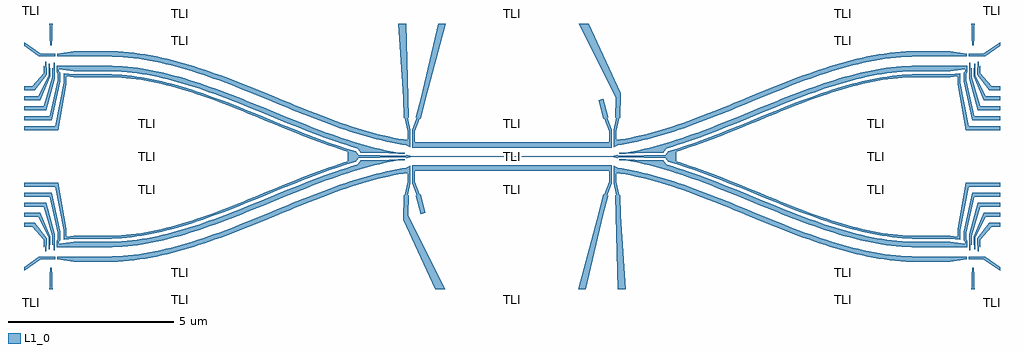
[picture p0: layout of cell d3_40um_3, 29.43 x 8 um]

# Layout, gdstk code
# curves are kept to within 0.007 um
import gdstk
lib = gdstk.Library(unit=1e-6, precision=1e-09)
def P(c, l, *ps):  # polygons
    for p in ps: c.add(gdstk.Polygon(p, *l))
L1_0 = (1, 0)

d3_40um_3 = lib.new_cell('d3_40um_3')
P(d3_40um_3, L1_0, [(-13.956,-4),(-13.955,-3.98),(-13.945,-3.98),(-13.945,-3.486),(-13.925,-3.486),(-13.925,-3.356),(-13.885,-3.356),(-13.885,-3.486),(-13.865,-3.486),(-13.865,-3.98),(-13.855,-3.98),(-13.854,-4)],
  [(13.853,-4),(13.855,-3.98),(13.865,-3.98),(13.865,-3.486),(13.885,-3.486),(13.885,-3.356),(13.925,-3.356),(13.925,-3.486),(13.945,-3.486),(13.945,-3.98),(13.955,-3.98),(13.956,-4)],
  [(-14.715,-3.447),(-14.715,-3.335),(-14.265,-3.016),(-13.775,-3.016),(-13.775,-3.096),(-14.215,-3.096)],
  [(14.715,-3.447),(14.215,-3.096),(13.775,-3.096),(13.775,-3.016),(14.265,-3.016),(14.715,-3.335)],
  [(-14.075,-2.856),(-14.075,-2.706),(-14.115,-2.736),(-14.115,-2.509),(-14.462,-2.116),(-14.715,-2.116),(-14.715,-1.996),(-14.393,-1.996),(-14.035,-2.471),(-14.035,-2.676),(-14.045,-2.684),(-14.045,-2.856)],
  [(14.045,-2.856),(14.045,-2.683),(14.035,-2.676),(14.035,-2.471),(14.393,-1.996),(14.715,-1.996),(14.715,-2.116),(14.462,-2.116),(14.115,-2.509),(14.115,-2.736),(14.075,-2.706),(14.075,-2.856)],
  [(-13.965,-2.796),(-13.965,-2.656),(-13.975,-2.656),(-13.975,-2.445),(-14.289,-1.816),(-14.715,-1.816),(-14.715,-1.696),(-14.219,-1.696),(-13.925,-2.416),(-13.925,-2.656),(-13.935,-2.656),(-13.935,-2.796)],
  [(13.935,-2.796),(13.935,-2.656),(13.925,-2.656),(13.925,-2.416),(14.219,-1.696),(14.715,-1.696),(14.715,-1.816),(14.289,-1.816),(13.975,-2.445),(13.975,-2.656),(13.965,-2.656),(13.965,-2.796)],
  [(-13.825,-2.826),(-13.825,-2.682),(-13.865,-2.666),(-13.865,-2.386),(-14.115,-1.516),(-14.715,-1.516),(-14.715,-1.396),(-14.046,-1.396),(-13.785,-2.346),(-13.785,-2.698),(-13.795,-2.694),(-13.795,-2.826)],
  [(13.795,-2.826),(13.795,-2.694),(13.785,-2.698),(13.785,-2.346),(14.046,-1.396),(14.715,-1.396),(14.715,-1.516),(14.115,-1.516),(13.865,-2.386),(13.865,-2.666),(13.825,-2.682),(13.825,-2.826)],
  [(-2.316,-4),(-3.28,-1.9),(-3.26,-1.168),(-3.228,-1.169),(-3.145,-0.767),(-3.145,-0.507),(-3.28,-0.515),(-3.894,-0.639),(-4.513,-0.806),(-4.98,-0.955),(-5.919,-1.298),(-7.819,-2.071),(-8.78,-2.444),(-9.587,-2.719),(-10.4,-2.944),(-10.728,-3.017),(-11.221,-3.102),(-11.717,-3.157),(-12.049,-3.174),(-13.215,-3.176),(-13.715,-3.096),(-13.715,-3.016),(-12.215,-3.016),(-11.728,-2.997),(-11.082,-2.919),(-10.759,-2.86),(-10.276,-2.749),(-9.474,-2.515),(-8.675,-2.234),(-7.72,-1.858),(-6.135,-1.211),(-5.188,-0.857),(-4.716,-0.701),(-4.245,-0.563),(-3.775,-0.448),(-3.185,-0.34),(-3.065,-0.28),(-3.065,-0.8),(-3.136,-1.171),(-3.11,-1.172),(-3.13,-1.772),(-2.008,-4)],
  [(3.193,-4),(3.11,-1.172),(3.136,-1.171),(3.065,-0.8),(3.065,-0.28),(3.185,-0.34),(3.775,-0.448),(4.245,-0.563),(4.716,-0.701),(5.188,-0.857),(6.135,-1.211),(7.72,-1.858),(8.675,-2.234),(9.474,-2.515),(10.276,-2.749),(10.759,-2.86),(11.082,-2.919),(11.728,-2.997),(12.215,-3.016),(13.715,-3.016),(13.715,-3.096),(13.215,-3.176),(12.049,-3.174),(11.717,-3.157),(11.221,-3.102),(10.728,-3.017),(10.4,-2.944),(9.749,-2.769),(9.264,-2.614),(8.78,-2.444),(7.819,-2.071),(5.919,-1.298),(4.98,-0.955),(4.513,-0.806),(3.894,-0.639),(3.28,-0.515),(3.145,-0.507),(3.145,-0.767),(3.228,-1.169),(3.26,-1.168),(3.28,-1.768),(3.423,-4)],
  [(2.002,-4),(2.752,-1.142),(2.78,-1.149),(2.925,-0.767),(2.925,-0.425),(-2.925,-0.425),(-2.925,-0.767),(-2.78,-1.149),(-2.752,-1.142),(-2.612,-1.702),(-2.758,-1.738),(-2.898,-1.178),(-2.869,-1.171),(-3.005,-0.8),(-3.005,-0.265),(3.005,-0.265),(3.005,-0.8),(2.869,-1.171),(2.898,-1.178),(2.758,-1.738),(2.229,-4)],
  [(-13.725,-2.736),(-13.725,-2.544),(-13.695,-2.496),(-13.695,-2.306),(-13.942,-1.216),(-14.715,-1.216),(-14.715,-1.096),(-13.873,-1.096),(-13.615,-2.276),(-13.615,-2.527),(-13.665,-2.566),(-13.665,-2.638),(-13.215,-2.576),(-12.064,-2.574),(-11.609,-2.546),(-11.152,-2.487),(-10.538,-2.365),(-9.919,-2.199),(-9.296,-1.999),(-8.512,-1.711),(-5.97,-0.692),(-5.165,-0.403),(-4.645,-0.24),(-4.555,-0.11),(-3.995,-0.11),(-3.425,-0.08),(-3.235,-0.08),(-3.235,-0.11),(-3.415,-0.119),(-3.669,-0.161),(-4.152,-0.27),(-4.633,-0.403),(-5.274,-0.609),(-6.232,-0.965),(-7.98,-1.673),(-8.77,-1.98),(-9.559,-2.255),(-10.344,-2.482),(-10.97,-2.619),(-11.282,-2.669),(-11.749,-2.719),(-12.215,-2.736)],
  [(12.215,-2.736),(11.749,-2.719),(11.126,-2.645),(10.501,-2.52),(9.873,-2.353),(9.244,-2.15),(8.612,-1.921),(6.232,-0.965),(5.274,-0.609),(4.633,-0.403),(4.152,-0.27),(3.669,-0.161),(3.415,-0.119),(3.235,-0.11),(3.235,-0.08),(3.425,-0.08),(3.995,-0.11),(4.555,-0.11),(4.645,-0.24),(5.165,-0.403),(5.97,-0.692),(8.512,-1.711),(9.296,-1.999),(9.919,-2.199),(10.538,-2.365),(11.152,-2.487),(11.609,-2.546),(12.064,-2.574),(13.215,-2.576),(13.665,-2.638),(13.665,-2.566),(13.615,-2.527),(13.615,-2.276),(13.873,-1.096),(14.715,-1.096),(14.715,-1.216),(13.942,-1.216),(13.695,-2.306),(13.695,-2.496),(13.725,-2.544),(13.725,-2.736)],
  [(-13.515,-2.517),(-13.515,-2.226),(-13.769,-0.916),(-14.715,-0.916),(-14.715,-0.796),(-13.675,-0.796),(-13.435,-2.181),(-13.435,-2.426),(-13.215,-2.396),(-12.215,-2.396),(-11.774,-2.38),(-11.181,-2.31),(-10.73,-2.224),(-10.276,-2.113),(-9.663,-1.932),(-9.045,-1.719),(-8.577,-1.543),(-6.034,-0.524),(-5.548,-0.345),(-4.96,-0.148),(-4.96,0.148),(-5.71,0.403),(-6.356,0.648),(-8.734,1.603),(-9.663,1.932),(-10.276,2.113),(-10.579,2.19),(-11.031,2.284),(-11.627,2.367),(-12.069,2.394),(-13.215,2.396),(-13.435,2.426),(-13.435,2.181),(-13.675,0.796),(-14.715,0.796),(-14.715,0.916),(-13.769,0.916),(-13.515,2.226),(-13.515,2.517),(-13.215,2.476),(-12.067,2.474),(-11.769,2.46),(-11.469,2.431),(-10.865,2.334),(-10.408,2.23),(-10.101,2.148),(-9.639,2.008),(-9.017,1.794),(-8.234,1.494),(-6.166,0.66),(-5.521,0.42),(-4.708,0.154),(-4.625,0.035),(-3.185,0.025),(-3.185,0.05),(-3.065,0.02),(-3.065,0.01),(3.065,0.01),(3.065,0.02),(3.185,0.05),(3.185,0.025),(4.625,0.035),(4.708,0.154),(5.197,0.308),(5.844,0.538),(6.487,0.786),(8.548,1.618),(9.484,1.957),(10.101,2.148),(10.408,2.23),(10.865,2.334),(11.469,2.431),(11.918,2.469),(13.215,2.476),(13.515,2.517),(13.515,2.226),(13.769,0.916),(14.715,0.916),(14.715,0.796),(13.675,0.796),(13.435,2.181),(13.435,2.426),(13.215,2.396),(12.215,2.396),(11.774,2.38),(11.181,2.31),(10.73,2.224),(10.276,2.113),(9.663,1.932),(9.045,1.719),(8.577,1.543),(6.034,0.524),(5.548,0.345),(4.96,0.148),(4.96,-0.148),(5.71,-0.403),(6.356,-0.648),(8.734,-1.603),(9.663,-1.932),(10.276,-2.113),(10.579,-2.19),(11.031,-2.284),(11.627,-2.367),(12.069,-2.394),(13.215,-2.396),(13.435,-2.426),(13.435,-2.181),(13.675,-0.796),(14.715,-0.796),(14.715,-0.916),(13.769,-0.916),(13.515,-2.226),(13.515,-2.517),(13.215,-2.476),(12.215,-2.476),(11.769,-2.46),(11.168,-2.389),(10.561,-2.267),(9.793,-2.057),(9.173,-1.85),(8.705,-1.678),(6.166,-0.66),(5.521,-0.42),(4.708,-0.154),(4.625,-0.035),(3.185,-0.025),(3.185,-0.05),(3.065,-0.02),(3.065,-0.01),(-3.065,-0.01),(-3.065,-0.02),(-3.185,-0.05),(-3.185,-0.025),(-4.625,-0.035),(-4.708,-0.154),(-5.521,-0.42),(-6.166,-0.66),(-8.234,-1.494),(-9.017,-1.794),(-9.639,-2.008),(-10.101,-2.148),(-10.408,-2.23),(-10.865,-2.334),(-11.469,-2.431),(-11.769,-2.46),(-12.067,-2.474),(-13.215,-2.476)],
  [(-3.425,0.08),(-3.995,0.11),(-4.555,0.11),(-4.645,0.24),(-5.165,0.403),(-5.97,0.692),(-8.512,1.711),(-9.296,1.999),(-9.919,2.199),(-10.538,2.365),(-11.152,2.487),(-11.609,2.546),(-12.064,2.574),(-13.215,2.576),(-13.665,2.638),(-13.665,2.566),(-13.615,2.527),(-13.615,2.276),(-13.873,1.096),(-14.715,1.096),(-14.715,1.216),(-13.942,1.216),(-13.695,2.306),(-13.695,2.496),(-13.725,2.544),(-13.725,2.736),(-12.06,2.734),(-11.594,2.706),(-11.126,2.645),(-10.657,2.556),(-10.03,2.398),(-9.559,2.255),(-8.612,1.921),(-6.232,0.965),(-5.434,0.665),(-4.794,0.452),(-4.152,0.27),(-3.669,0.161),(-3.415,0.119),(-3.235,0.11),(-3.235,0.08)],
  [(3.235,0.08),(3.235,0.11),(3.415,0.119),(3.669,0.161),(4.152,0.27),(4.633,0.403),(5.274,0.609),(6.232,0.965),(8.612,1.921),(9.244,2.15),(9.716,2.305),(10.187,2.441),(10.657,2.556),(11.126,2.645),(11.594,2.706),(12.06,2.734),(13.725,2.736),(13.725,2.544),(13.695,2.496),(13.695,2.306),(13.942,1.216),(14.715,1.216),(14.715,1.096),(13.873,1.096),(13.615,2.276),(13.615,2.527),(13.665,2.566),(13.665,2.638),(13.215,2.576),(12.064,2.574),(11.609,2.546),(11.152,2.487),(10.538,2.365),(9.919,2.199),(9.296,1.999),(8.512,1.711),(5.97,0.692),(5.165,0.403),(4.645,0.24),(4.555,0.11),(3.995,0.11),(3.425,0.08)],
  [(-14.715,1.696),(-14.715,1.816),(-14.289,1.816),(-13.975,2.445),(-13.975,2.656),(-13.965,2.656),(-13.965,2.796),(-13.935,2.796),(-13.935,2.656),(-13.925,2.656),(-13.925,2.416),(-14.219,1.696)],
  [(14.219,1.696),(13.925,2.416),(13.925,2.656),(13.935,2.656),(13.935,2.796),(13.965,2.796),(13.965,2.656),(13.975,2.656),(13.975,2.445),(14.289,1.816),(14.715,1.816),(14.715,1.696)],
  [(-14.715,1.396),(-14.715,1.516),(-14.115,1.516),(-13.865,2.386),(-13.865,2.666),(-13.825,2.682),(-13.825,2.826),(-13.795,2.826),(-13.795,2.694),(-13.785,2.698),(-13.785,2.346),(-14.046,1.396)],
  [(14.046,1.396),(13.785,2.346),(13.785,2.698),(13.795,2.694),(13.795,2.826),(13.825,2.826),(13.825,2.682),(13.865,2.666),(13.865,2.386),(14.115,1.516),(14.715,1.516),(14.715,1.396)],
  [(-14.715,1.996),(-14.715,2.116),(-14.462,2.116),(-14.115,2.509),(-14.115,2.736),(-14.075,2.706),(-14.075,2.856),(-14.045,2.856),(-14.045,2.683),(-14.035,2.676),(-14.035,2.471),(-14.393,1.996)],
  [(14.393,1.996),(14.035,2.471),(14.035,2.676),(14.045,2.684),(14.045,2.856),(14.075,2.856),(14.075,2.706),(14.115,2.736),(14.115,2.509),(14.462,2.116),(14.715,2.116),(14.715,1.996)],
  [(-14.265,3.016),(-14.715,3.335),(-14.715,3.447),(-14.215,3.096),(-13.775,3.096),(-13.775,3.016)],
  [(13.775,3.016),(13.775,3.096),(14.215,3.096),(14.715,3.447),(14.715,3.335),(14.265,3.016)],
  [(-13.925,3.356),(-13.925,3.486),(-13.945,3.486),(-13.945,3.98),(-13.955,3.98),(-13.956,4),(-13.853,4),(-13.855,3.98),(-13.865,3.98),(-13.865,3.486),(-13.885,3.486),(-13.885,3.356)],
  [(-3.065,0.28),(-3.185,0.34),(-3.775,0.448),(-4.245,0.563),(-4.716,0.701),(-5.188,0.857),(-6.135,1.211),(-7.72,1.858),(-8.675,2.234),(-9.474,2.515),(-10.116,2.707),(-10.598,2.826),(-10.92,2.891),(-11.243,2.944),(-11.567,2.983),(-12.053,3.014),(-13.715,3.016),(-13.715,3.096),(-13.215,3.176),(-11.882,3.167),(-11.551,3.142),(-11.221,3.102),(-10.728,3.017),(-10.4,2.944),(-9.749,2.769),(-9.264,2.614),(-8.78,2.444),(-7.819,2.071),(-5.919,1.298),(-4.98,0.955),(-4.513,0.806),(-3.894,0.639),(-3.28,0.515),(-3.145,0.507),(-3.145,0.767),(-3.228,1.169),(-3.26,1.168),(-3.28,1.768),(-3.423,4),(-3.193,4),(-3.11,1.172),(-3.136,1.171),(-3.065,0.8)],
  [(-3.005,0.265),(-3.005,0.8),(-2.869,1.171),(-2.898,1.178),(-2.758,1.738),(-2.229,4),(-2.002,4),(-2.752,1.142),(-2.78,1.149),(-2.925,0.767),(-2.925,0.425),(2.925,0.425),(2.925,0.767),(2.78,1.149),(2.752,1.142),(2.612,1.702),(2.758,1.738),(2.898,1.178),(2.869,1.171),(3.005,0.8),(3.005,0.265)],
  [(3.065,0.28),(3.065,0.8),(3.136,1.171),(3.11,1.172),(3.13,1.772),(2.008,4),(2.316,4),(3.28,1.9),(3.26,1.168),(3.228,1.169),(3.145,0.767),(3.145,0.507),(3.28,0.515),(3.894,0.639),(4.513,0.806),(4.98,0.955),(5.919,1.298),(7.819,2.071),(8.78,2.444),(9.587,2.719),(10.4,2.944),(10.728,3.017),(11.221,3.102),(11.551,3.142),(11.882,3.167),(13.215,3.176),(13.715,3.096),(13.715,3.016),(12.053,3.014),(11.567,2.983),(11.243,2.944),(10.92,2.891),(10.598,2.826),(10.116,2.707),(9.474,2.515),(8.675,2.234),(7.72,1.858),(6.135,1.211),(5.188,0.857),(4.716,0.701),(4.245,0.563),(3.775,0.448),(3.185,0.34)],
  [(13.885,3.356),(13.885,3.486),(13.865,3.486),(13.865,3.98),(13.855,3.98),(13.854,4),(13.956,4),(13.955,3.98),(13.945,3.98),(13.945,3.486),(13.925,3.486),(13.925,3.356)])
d3_40um_3.add(gdstk.Label('RF_Output', (-12,-5.25), layer=1, texttype=0))
d3_40um_3.add(gdstk.Label('RF_Power', (-4,-5.25), layer=1, texttype=0))
d3_40um_3.add(gdstk.Label('RF_Frequency', (4,-5.25), layer=1, texttype=0))
d3_40um_3.add(gdstk.Label('RF_Output', (12,-5.25), layer=1, texttype=0))
d3_40um_3.add(gdstk.Label('RF_Pulse_Period', (-12,-5.75), layer=1, texttype=0))
d3_40um_3.add(gdstk.Label('RF_Pulse_Width', (-4,-5.75), layer=1, texttype=0))
d3_40um_3.add(gdstk.Label('RF_Pulse_Delay', (4,-5.75), layer=1, texttype=0))
d3_40um_3.add(gdstk.Label('RF_Pulse_Mod', (12,-5.75), layer=1, texttype=0))
d3_40um_3.add(gdstk.Label('TLI', (-11,-1), layer=1, texttype=0))
d3_40um_3.add(gdstk.Label('TLI', (-11,0), layer=1, texttype=0))
d3_40um_3.add(gdstk.Label('TLI', (-11,1), layer=1, texttype=0))
d3_40um_3.add(gdstk.Label('TLI', (0,1), layer=1, texttype=0))
d3_40um_3.add(gdstk.Label('TLI', (0,-1), layer=1, texttype=0))
d3_40um_3.add(gdstk.Label('TLI', (0,0), layer=1, texttype=0))
d3_40um_3.add(gdstk.Label('TLI', (17,3.42), layer=1, texttype=0))
d3_40um_3.add(gdstk.Label('TLI', (17,1.05), layer=1, texttype=0))
d3_40um_3.add(gdstk.Label('TLI', (17,1.5), layer=1, texttype=0))
d3_40um_3.add(gdstk.Label('TLI', (17,1.94), layer=1, texttype=0))
d3_40um_3.add(gdstk.Label('TLI', (17,2.92), layer=1, texttype=0))
d3_40um_3.add(gdstk.Label('TLI', (17,3.92), layer=1, texttype=0))
d3_40um_3.add(gdstk.Label('TLI', (17,-3.42), layer=1, texttype=0))
d3_40um_3.add(gdstk.Label('TLI', (17,-1.05), layer=1, texttype=0))
d3_40um_3.add(gdstk.Label('TLI', (17,-1.5), layer=1, texttype=0))
d3_40um_3.add(gdstk.Label('TLI', (17,-1.94), layer=1, texttype=0))
d3_40um_3.add(gdstk.Label('TLI', (17,-2.92), layer=1, texttype=0))
d3_40um_3.add(gdstk.Label('TLI', (17,-3.92), layer=1, texttype=0))
d3_40um_3.add(gdstk.Label('TLI', (10,4.3), layer=1, texttype=0))
d3_40um_3.add(gdstk.Label('TLI', (10,3.5), layer=1, texttype=0))
d3_40um_3.add(gdstk.Label('TLI', (11,1), layer=1, texttype=0))
d3_40um_3.add(gdstk.Label('TLI', (14.5,4.41), layer=1, texttype=0))
d3_40um_3.add(gdstk.Label('TLI', (10,-3.5), layer=1, texttype=0))
d3_40um_3.add(gdstk.Label('TLI', (11,-1), layer=1, texttype=0))
d3_40um_3.add(gdstk.Label('TLI', (14.5,-4.41), layer=1, texttype=0))
d3_40um_3.add(gdstk.Label('TLI', (11,0), layer=1, texttype=0))
d3_40um_3.add(gdstk.Label('TLI', (10,-4.3), layer=1, texttype=0))
d3_40um_3.add(gdstk.Label('TLI', (0,4.3), layer=1, texttype=0))
d3_40um_3.add(gdstk.Label('TLI', (0,-4.3), layer=1, texttype=0))
d3_40um_3.add(gdstk.Label('TLI', (-10,3.5), layer=1, texttype=0))
d3_40um_3.add(gdstk.Label('TLI', (-14.5,4.41), layer=1, texttype=0))
d3_40um_3.add(gdstk.Label('TLI', (-17,3.42), layer=1, texttype=0))
d3_40um_3.add(gdstk.Label('TLI', (-17,1.05), layer=1, texttype=0))
d3_40um_3.add(gdstk.Label('TLI', (-17,1.5), layer=1, texttype=0))
d3_40um_3.add(gdstk.Label('TLI', (-17,1.94), layer=1, texttype=0))
d3_40um_3.add(gdstk.Label('TLI', (-17,2.92), layer=1, texttype=0))
d3_40um_3.add(gdstk.Label('TLI', (-17,3.92), layer=1, texttype=0))
d3_40um_3.add(gdstk.Label('TLI', (-17,-3.42), layer=1, texttype=0))
d3_40um_3.add(gdstk.Label('TLI', (-17,-1.05), layer=1, texttype=0))
d3_40um_3.add(gdstk.Label('TLI', (-17,-1.5), layer=1, texttype=0))
d3_40um_3.add(gdstk.Label('TLI', (-17,-1.94), layer=1, texttype=0))
d3_40um_3.add(gdstk.Label('TLI', (-17,-2.92), layer=1, texttype=0))
d3_40um_3.add(gdstk.Label('TLI', (-17,-3.92), layer=1, texttype=0))
d3_40um_3.add(gdstk.Label('TLI', (-10,-3.5), layer=1, texttype=0))
d3_40um_3.add(gdstk.Label('TLI', (-14.5,-4.41), layer=1, texttype=0))
d3_40um_3.add(gdstk.Label('TLI', (-10,4.3), layer=1, texttype=0))
d3_40um_3.add(gdstk.Label('TLI', (-10,-4.3), layer=1, texttype=0))

lib.write_gds('d3_40um_3.gds')
